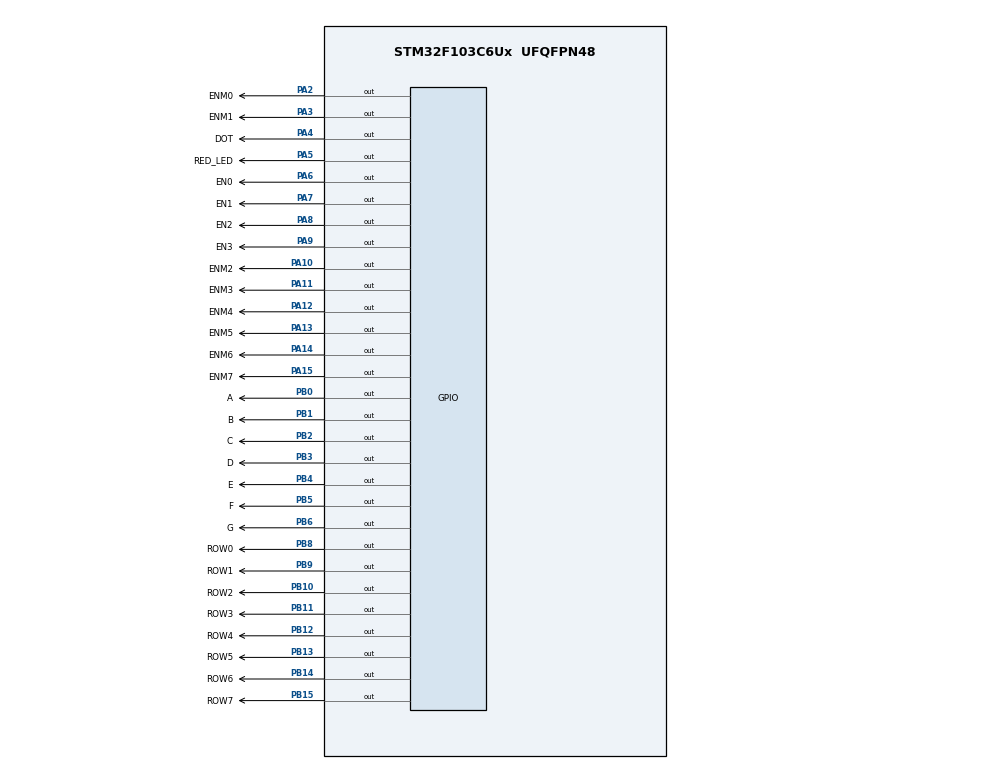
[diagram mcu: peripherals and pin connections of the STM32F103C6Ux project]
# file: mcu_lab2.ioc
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Mcu.Family=STM32F1
Mcu.Name=STM32F103C6Ux
Mcu.Package=UFQFPN48
NVIC.PriorityGroup=NVIC_PRIORITYGROUP_4
NVIC.TIM2_IRQn=true\:0\:0\:false\:false\:true\:true\:true
PA0-WKUP.Mode=SYS_WakeUp0
PA0-WKUP.Signal=SYS_WKUP
PA10.GPIO_Label=ENM2
PA10.Signal=GPIO_Output
PA11.GPIO_Label=ENM3
PA11.Signal=GPIO_Output
PA12.GPIO_Label=ENM4
PA12.Signal=GPIO_Output
PA13.GPIO_Label=ENM5
PA13.Signal=GPIO_Output
PA14.GPIO_Label=ENM6
PA14.Signal=GPIO_Output
PA15.GPIO_Label=ENM7
PA15.Signal=GPIO_Output
PA2.GPIO_Label=ENM0
PA2.Signal=GPIO_Output
PA3.GPIO_Label=ENM1
PA3.Signal=GPIO_Output
PA4.GPIO_Label=DOT
PA4.Signal=GPIO_Output
PA5.GPIO_Label=RED_LED
PA5.Signal=GPIO_Output
PA6.GPIO_Label=EN0
PA6.Signal=GPIO_Output
PA7.GPIO_Label=EN1
PA7.Signal=GPIO_Output
PA8.GPIO_Label=EN2
PA8.Signal=GPIO_Output
PA9.GPIO_Label=EN3
PA9.Signal=GPIO_Output
PB0.GPIO_Label=A
PB0.Signal=GPIO_Output
PB1.GPIO_Label=B
PB1.Signal=GPIO_Output
PB10.GPIO_Label=ROW2
PB10.Signal=GPIO_Output
PB11.GPIO_Label=ROW3
PB11.Signal=GPIO_Output
PB12.GPIO_Label=ROW4
PB12.Signal=GPIO_Output
PB13.GPIO_Label=ROW5
PB13.Signal=GPIO_Output
PB14.GPIO_Label=ROW6
PB14.Signal=GPIO_Output
PB15.GPIO_Label=ROW7
PB15.Signal=GPIO_Output
PB2.GPIO_Label=C
PB2.Signal=GPIO_Output
PB3.GPIO_Label=D
PB3.Signal=GPIO_Output
PB4.GPIO_Label=E
PB4.Signal=GPIO_Output
PB5.GPIO_Label=F
PB5.Signal=GPIO_Output
PB6.GPIO_Label=G
PB6.Signal=GPIO_Output
PB8.GPIO_Label=ROW0
PB8.Signal=GPIO_Output
PB9.GPIO_Label=ROW1
PB9.Signal=GPIO_Output
ProjectManager.HeapSize=0x200
ProjectManager.StackSize=0x400
ProjectManager.TargetToolchain=STM32CubeIDE
RCC.APB1Freq_Value=8000000
RCC.APB2Freq_Value=8000000
TIM2.Period=9
TIM2.Prescaler=7999
VP_SYS_VS_ND.Mode=No_Debug
VP_TIM2_VS_ClockSourceINT.Mode=Internal
board=custom

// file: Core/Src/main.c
/* USER CODE BEGIN Header */
/**
 ******************************************************************************
 * @file           : main.c
 * @brief          : Main program body
 ******************************************************************************
 * @attention
 *
 * <h2><center>&copy; Copyright (c) 2023 STMicroelectronics.
 * All rights reserved.</center></h2>
 *
 * This software component is licensed by ST under BSD 3-Clause license,
 * the "License"; You may not use this file except in compliance with the
 * License. You may obtain a copy of the License at:
 *                        opensource.org/licenses/BSD-3-Clause
 *
 ******************************************************************************
 */
/* USER CODE END Header */
#include "main.h"
#include "sofware_timer.h"

TIM_HandleTypeDef htim2;

void SystemClock_Config(void);
static void MX_GPIO_Init(void);
static void MX_TIM2_Init(void);

/* USER CODE BEGIN 0 */
uint8_t segmentNumber[10] = {
    0x40, // 0
    0x79, // 1
    0x24, // 2
    0x30, // 3
    0x19, // 4
    0x12, // 5
    0x02, // 6
    0x78, // 7
    0x00, // 8
    0x10  // 9
};
void display7Segment(uint8_t number)
{
  HAL_GPIO_WritePin(A_GPIO_Port, A_Pin, ((number >> 0) & 0x01));
  HAL_GPIO_WritePin(B_GPIO_Port, B_Pin, ((number >> 1) & 0x01));
  HAL_GPIO_WritePin(C_GPIO_Port, C_Pin, ((number >> 2) & 0x01));
  HAL_GPIO_WritePin(D_GPIO_Port, D_Pin, ((number >> 3) & 0x01));
  HAL_GPIO_WritePin(E_GPIO_Port, E_Pin, ((number >> 4) & 0x01));
  HAL_GPIO_WritePin(F_GPIO_Port, F_Pin, ((number >> 5) & 0x01));
  HAL_GPIO_WritePin(G_GPIO_Port, G_Pin, ((number >> 6) & 0x01));
}
const int MAX_LED = 4;
int index_led = 0;
int led_buffer[4] = {1, 2, 3, 4};

void update7SEG(int index)
{
  switch (index)
  {
  case 0:
    // Display the first 7 SEG with led_buffer[0]
    display7Segment(segmentNumber[led_buffer[0]]);
    break;
  case 1:
    // Display the second 7 SEG with led_buffer[1]
    display7Segment(segmentNumber[led_buffer[1]]);
    break;
  case 2:
    // Display the third 7 SEG with led_buffer[2]
    display7Segment(segmentNumber[led_buffer[2]]);
    break;
  case 3:
    // Display the fourth 7 SEG with led_buffer[3]
    display7Segment(segmentNumber[led_buffer[3]]);
    break;
  default:
    break;
  }
}

/* USER CODE END 0 */

/* Infinite loop */
/* USER CODE BEGIN WHILE */
int timer1_value = 50;
int timer2_value = 100;
int timer3_value = 25;
uint8_t matrix_buffer[8] = {0x01, 0x02, 0x03, 0x04, 0x05, 0x06, 0x07, 0x08};
// Write letter A to LED Matrix
uint8_t letterA[8] = {
    0b00111100,
    0b01100110,
    0b11000011,
    0b11000011,
    0b11111111,
    0b11000011,
    0b11000011,
    0b11000011};
// clock
int hour = 15, minute = 8, second = 50;
int SEGMENT = 0;
void updateClockBuffer()
{
  led_buffer[0] = hour / 10;
  led_buffer[1] = hour % 10;
  led_buffer[2] = minute / 10;
  led_buffer[3] = minute % 10;
  if (timer1_flag == 1 && SEGMENT == 0)
  {
    SEGMENT = 1;
    set_timer1(timer1_value);
    HAL_GPIO_WritePin(EN0_GPIO_Port, EN0_Pin, 0);
    HAL_GPIO_WritePin(EN1_GPIO_Port, EN1_Pin, 1);
    HAL_GPIO_WritePin(EN2_GPIO_Port, EN2_Pin, 1);
    HAL_GPIO_WritePin(EN3_GPIO_Port, EN3_Pin, 1);
    update7SEG(0);
  }
  else if (timer1_flag == 1 && SEGMENT == 1)
  {
    SEGMENT = 2;
    set_timer1(timer1_value);
    HAL_GPIO_WritePin(EN0_GPIO_Port, EN0_Pin, 1);
    HAL_GPIO_WritePin(EN1_GPIO_Port, EN1_Pin, 0);
    HAL_GPIO_WritePin(EN2_GPIO_Port, EN2_Pin, 1);
    HAL_GPIO_WritePin(EN3_GPIO_Port, EN3_Pin, 1);
    update7SEG(1);
  }
  else if (timer1_flag == 1 && SEGMENT == 2)
  {
    SEGMENT = 3;
    set_timer1(timer1_value);
    HAL_GPIO_WritePin(EN0_GPIO_Port, EN0_Pin, 1);
    HAL_GPIO_WritePin(EN1_GPIO_Port, EN1_Pin, 1);
    HAL_GPIO_WritePin(EN2_GPIO_Port, EN2_Pin, 0);
    HAL_GPIO_WritePin(EN3_GPIO_Port, EN3_Pin, 1);
    update7SEG(2);
  }
  else if (timer1_flag == 1 && SEGMENT == 3)
  {
    SEGMENT = 0;
    set_timer1(timer1_value);
    HAL_GPIO_WritePin(EN0_GPIO_Port, EN0_Pin, 1);
    HAL_GPIO_WritePin(EN1_GPIO_Port, EN1_Pin, 1);
    HAL_GPIO_WritePin(EN2_GPIO_Port, EN2_Pin, 1);
    HAL_GPIO_WritePin(EN3_GPIO_Port, EN3_Pin, 0);
    update7SEG(3);
  }
}

void updateLEDMatrix(int index)
{
  switch (index)
  {
  case 0:
    HAL_GPIO_WritePin(ENM0_GPIO_Port, ENM0_Pin, RESET);
    HAL_GPIO_WritePin(GPIOA, ENM1_Pin | ENM2_Pin | ENM3_Pin | ENM4_Pin | ENM5_Pin | ENM6_Pin | ENM7_Pin, SET);
    HAL_GPIO_WritePin(GPIOB, 0xff << 8, SET);
    HAL_GPIO_WritePin(GPIOB, matrix_buffer[index] << 8, RESET);
    break;
  case 1:
    HAL_GPIO_WritePin(ENM1_GPIO_Port, ENM1_Pin, RESET);
    HAL_GPIO_WritePin(GPIOA, ENM0_Pin | ENM2_Pin | ENM3_Pin | ENM4_Pin | ENM5_Pin | ENM6_Pin | ENM7_Pin, SET);
    HAL_GPIO_WritePin(GPIOB, 0xff << 8, SET);
    HAL_GPIO_WritePin(GPIOB, matrix_buffer[index] << 8, RESET);
    break;
  case 2:
    HAL_GPIO_WritePin(ENM2_GPIO_Port, ENM2_Pin, RESET);
    HAL_GPIO_WritePin(GPIOA, ENM0_Pin | ENM1_Pin | ENM3_Pin | ENM4_Pin | ENM5_Pin | ENM6_Pin | ENM7_Pin, SET);
    HAL_GPIO_WritePin(GPIOB, 0xff << 8, SET);
    HAL_GPIO_WritePin(GPIOB, matrix_buffer[index] << 8, RESET);
    break;
  case 3:
    HAL_GPIO_WritePin(ENM3_GPIO_Port, ENM3_Pin, RESET);
    HAL_GPIO_WritePin(GPIOA, ENM0_Pin | ENM1_Pin | ENM2_Pin | ENM4_Pin | ENM5_Pin | ENM6_Pin | ENM7_Pin, SET);
    HAL_GPIO_WritePin(GPIOB, 0xff << 8, SET);
    HAL_GPIO_WritePin(GPIOB, matrix_buffer[index] << 8, RESET);
    break;
  case 4:
    HAL_GPIO_WritePin(ENM4_GPIO_Port, ENM4_Pin, RESET);
    HAL_GPIO_WritePin(GPIOA, ENM0_Pin | ENM1_Pin | ENM2_Pin | ENM3_Pin | ENM5_Pin | ENM6_Pin | ENM7_Pin, SET);
    HAL_GPIO_WritePin(GPIOB, 0xff << 8, SET);
    HAL_GPIO_WritePin(GPIOB, matrix_buffer[index] << 8, RESET);
    break;
  case 5:
    HAL_GPIO_WritePin(ENM5_GPIO_Port, ENM5_Pin, RESET);
    HAL_GPIO_WritePin(GPIOA, ENM0_Pin | ENM1_Pin | ENM2_Pin | ENM3_Pin | ENM4_Pin | ENM6_Pin | ENM7_Pin, SET);
    HAL_GPIO_WritePin(GPIOB, 0xff << 8, SET);
    HAL_GPIO_WritePin(GPIOB, matrix_buffer[index] << 8, RESET);
    break;
  case 6:
    HAL_GPIO_WritePin(ENM6_GPIO_Port, ENM6_Pin, RESET);
    HAL_GPIO_WritePin(GPIOA, ENM0_Pin | ENM1_Pin | ENM2_Pin | ENM3_Pin | ENM4_Pin | ENM5_Pin | ENM7_Pin, SET);
    HAL_GPIO_WritePin(GPIOB, 0xff << 8, SET);
    HAL_GPIO_WritePin(GPIOB, matrix_buffer[index] << 8, RESET);
    break;
  case 7:
    HAL_GPIO_WritePin(ENM7_GPIO_Port, ENM7_Pin, RESET);
    HAL_GPIO_WritePin(GPIOA, ENM0_Pin | ENM1_Pin | ENM2_Pin | ENM3_Pin | ENM4_Pin | ENM5_Pin | ENM6_Pin, SET);
    HAL_GPIO_WritePin(GPIOB, 0xff << 8, SET);
    HAL_GPIO_WritePin(GPIOB, matrix_buffer[index] << 8, RESET);
    break;
  default:
    break;
  }
}

void shiftleft(uint8_t *letter)
{
  // Shift the letter to the left
  // Row 1
  letter[0] = (letter[0] << 1) | (letter[1] >> 7);
  // Row 2
  letter[1] = (letter[1] << 1) | (letter[2] >> 7);
  // Row 3
  letter[2] = (letter[2] << 1) | (letter[3] >> 7);
  // Row 4
  letter[3] = (letter[3] << 1) | (letter[4] >> 7);
  // Row 5
  letter[4] = (letter[4] << 1) | (letter[5] >> 7);
  // Row 6
  letter[5] = (letter[5] << 1) | (letter[6] >> 7);
  // Row 7
  letter[6] = (letter[6] << 1) | (letter[7] >> 7);
  // Row 8
  letter[7] <<= 1;
}
int main(void)
{
  /* USER CODE BEGIN 1 */

  /* USER CODE END 1 */

  /* MCU Configuration--------------------------------------------------------*/

  /* Reset of all peripherals, Initializes the Flash interface and the Systick. */
  HAL_Init();

  /* USER CODE BEGIN Init */

  /* USER CODE END Init */

  /* Configure the system clock */
  SystemClock_Config();

  /* USER CODE BEGIN SysInit */

  /* USER CODE END SysInit */

  /* Initialize all configured peripherals */
  MX_GPIO_Init();
  MX_TIM2_Init();
  /* USER CODE BEGIN 2 */
  HAL_TIM_Base_Start_IT(&htim2);

  /* USER CODE END 2 */
  set_timer1(timer1_value);
  set_timer2(timer2_value);
  set_timer3(timer3_value);
  // set pin EN0 to 1 and EN3 to 1
  HAL_GPIO_WritePin(EN0_GPIO_Port, EN0_Pin, 1);
  HAL_GPIO_WritePin(EN1_GPIO_Port, EN1_Pin, 1);
  HAL_GPIO_WritePin(EN2_GPIO_Port, EN2_Pin, 1);
  HAL_GPIO_WritePin(EN3_GPIO_Port, EN3_Pin, 1);
  const int MAX_LED_MATRIX = 8;
  int index_led_matrix = 0;

  while (1)
  {
    /* USER CODE END WHILE */
    // display 1 on 7-segment en0 then after 500s display 2 on 7-segment en1
    second++;
    if (second >= 60)
    {
      second = 0;
      minute++;
    }
    if (minute >= 60)
    {
      minute = 0;
      hour++;
    }
    if (hour >= 24)
    {
      hour = 0;
    }
    updateClockBuffer();
    if (timer2_flag == 1)
    {
      // togle Dot
      HAL_GPIO_TogglePin(DOT_GPIO_Port, DOT_Pin);
      set_timer2(timer2_value);
    }
    if (timer3_flag == 1)
    {
      // Update matrix_buffer with the full letter "A" pattern
      matrix_buffer[0] = letterA[0];
      matrix_buffer[1] = letterA[1];
      matrix_buffer[2] = letterA[2];
      matrix_buffer[3] = letterA[3];
      matrix_buffer[4] = letterA[4];
      matrix_buffer[5] = letterA[5];
      matrix_buffer[6] = letterA[6];
      matrix_buffer[7] = letterA[7];

      // Update the LED matrix with the complete letter "A"
      updateLEDMatrix(index_led_matrix);

      index_led_matrix++;
      if (index_led_matrix >= MAX_LED_MATRIX)
      {
        index_led_matrix = 0;
        shiftleft(letterA);
      }
      set_timer3(timer3_value);
    }

  }
}

void SystemClock_Config(void)
{
  RCC_OscInitTypeDef RCC_OscInitStruct = {0};
  RCC_ClkInitTypeDef RCC_ClkInitStruct = {0};

  /** Initializes the RCC Oscillators according to the specified parameters
   * in the RCC_OscInitTypeDef structure.
   */
  RCC_OscInitStruct.OscillatorType = RCC_OSCILLATORTYPE_HSI;
  RCC_OscInitStruct.HSIState = RCC_HSI_ON;
  RCC_OscInitStruct.HSICalibrationValue = RCC_HSICALIBRATION_DEFAULT;
  RCC_OscInitStruct.PLL.PLLState = RCC_PLL_NONE;
  if (HAL_RCC_OscConfig(&RCC_OscInitStruct) != HAL_OK)
  {
    Error_Handler();
  }
  /** Initializes the CPU, AHB and APB buses clocks
   */
  RCC_ClkInitStruct.ClockType = RCC_CLOCKTYPE_HCLK | RCC_CLOCKTYPE_SYSCLK | RCC_CLOCKTYPE_PCLK1 | RCC_CLOCKTYPE_PCLK2;
  RCC_ClkInitStruct.SYSCLKSource = RCC_SYSCLKSOURCE_HSI;
  RCC_ClkInitStruct.AHBCLKDivider = RCC_SYSCLK_DIV1;
  RCC_ClkInitStruct.APB1CLKDivider = RCC_HCLK_DIV1;
  RCC_ClkInitStruct.APB2CLKDivider = RCC_HCLK_DIV1;

  if (HAL_RCC_ClockConfig(&RCC_ClkInitStruct, FLASH_LATENCY_0) != HAL_OK)
  {
    Error_Handler();
  }
}

static void MX_TIM2_Init(void)
{

  TIM_ClockConfigTypeDef sClockSourceConfig = {0};
  TIM_MasterConfigTypeDef sMasterConfig = {0};

  htim2.Instance = TIM2;
  htim2.Init.Prescaler = 7999;
  htim2.Init.CounterMode = TIM_COUNTERMODE_UP;
  htim2.Init.Period = 9;
  htim2.Init.ClockDivision = TIM_CLOCKDIVISION_DIV1;
  htim2.Init.AutoReloadPreload = TIM_AUTORELOAD_PRELOAD_DISABLE;
  if (HAL_TIM_Base_Init(&htim2) != HAL_OK)
  {
    Error_Handler();
  }
  sClockSourceConfig.ClockSource = TIM_CLOCKSOURCE_INTERNAL;
  if (HAL_TIM_ConfigClockSource(&htim2, &sClockSourceConfig) != HAL_OK)
  {
    Error_Handler();
  }
  sMasterConfig.MasterOutputTrigger = TIM_TRGO_RESET;
  sMasterConfig.MasterSlaveMode = TIM_MASTERSLAVEMODE_DISABLE;
  if (HAL_TIMEx_MasterConfigSynchronization(&htim2, &sMasterConfig) != HAL_OK)
  {
    Error_Handler();
  }
}

static void MX_GPIO_Init(void)
{
  GPIO_InitTypeDef GPIO_InitStruct = {0};

  /* GPIO Ports Clock Enable */
  __HAL_RCC_GPIOA_CLK_ENABLE();
  __HAL_RCC_GPIOB_CLK_ENABLE();

  /*Configure GPIO pin Output Level */
  HAL_GPIO_WritePin(GPIOA, ENM0_Pin | ENM1_Pin | DOT_Pin | RED_LED_Pin | EN0_Pin | EN1_Pin | EN2_Pin | EN3_Pin | ENM2_Pin | ENM3_Pin | ENM4_Pin | ENM5_Pin | ENM6_Pin | ENM7_Pin, GPIO_PIN_RESET);

  /*Configure GPIO pin Output Level */
  HAL_GPIO_WritePin(GPIOB, A_Pin | B_Pin | C_Pin | ROW2_Pin | ROW3_Pin | ROW4_Pin | ROW5_Pin | ROW6_Pin | ROW7_Pin | D_Pin | E_Pin | F_Pin | G_Pin | ROW0_Pin | ROW1_Pin, GPIO_PIN_RESET);

  /*Configure GPIO pins : ENM0_Pin ENM1_Pin DOT_Pin RED_LED_Pin
                           EN0_Pin EN1_Pin EN2_Pin EN3_Pin
                           ENM2_Pin ENM3_Pin ENM4_Pin ENM5_Pin
                           ENM6_Pin ENM7_Pin */
  GPIO_InitStruct.Pin = ENM0_Pin | ENM1_Pin | DOT_Pin | RED_LED_Pin | EN0_Pin | EN1_Pin | EN2_Pin | EN3_Pin | ENM2_Pin | ENM3_Pin | ENM4_Pin | ENM5_Pin | ENM6_Pin | ENM7_Pin;
  GPIO_InitStruct.Mode = GPIO_MODE_OUTPUT_PP;
  GPIO_InitStruct.Pull = GPIO_NOPULL;
  GPIO_InitStruct.Speed = GPIO_SPEED_FREQ_LOW;
  HAL_GPIO_Init(GPIOA, &GPIO_InitStruct);

  /*Configure GPIO pins : A_Pin B_Pin C_Pin ROW2_Pin
                           ROW3_Pin ROW4_Pin ROW5_Pin ROW6_Pin
                           ROW7_Pin D_Pin E_Pin F_Pin
                           G_Pin ROW0_Pin ROW1_Pin */
  GPIO_InitStruct.Pin = A_Pin | B_Pin | C_Pin | ROW2_Pin | ROW3_Pin | ROW4_Pin | ROW5_Pin | ROW6_Pin | ROW7_Pin | D_Pin | E_Pin | F_Pin | G_Pin | ROW0_Pin | ROW1_Pin;
  GPIO_InitStruct.Mode = GPIO_MODE_OUTPUT_PP;
  GPIO_InitStruct.Pull = GPIO_NOPULL;
  GPIO_InitStruct.Speed = GPIO_SPEED_FREQ_LOW;
  HAL_GPIO_Init(GPIOB, &GPIO_InitStruct);
}

/* USER CODE BEGIN 4 */
void HAL_TIM_PeriodElapsedCallback(TIM_HandleTypeDef *htim)
{
  timerRun();
}

/* USER CODE END 4 */

void Error_Handler(void)
{
  __disable_irq();
  while (1)
  {
  }
}

/************************ (C) COPYRIGHT STMicroelectronics *****END OF FILE****/
